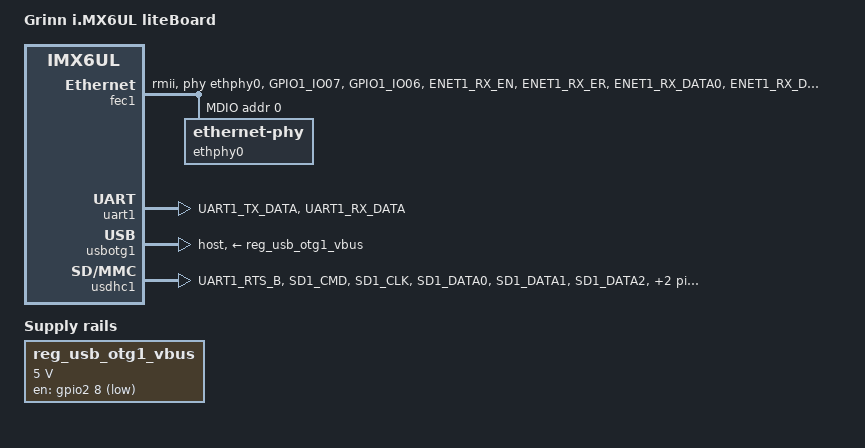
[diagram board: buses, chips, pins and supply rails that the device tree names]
/*
 * Copyright 2016 Grinn
 *
 * Author: Marcin Niestroj <m.niestroj@grinn-global.com>
 *
 * This file is dual-licensed: you can use it either under the terms
 * of the GPL or the X11 license, at your option. Note that this dual
 * licensing only applies to this file, and not this project as a
 * whole.
 *
 *  a) This file is free software; you can redistribute it and/or
 *     modify it under the terms of the GNU General Public License
 *     version 2 as published by the Free Software Foundation.
 *
 *     This file is distributed in the hope that it will be useful,
 *     but WITHOUT ANY WARRANTY; without even the implied warranty of
 *     MERCHANTABILITY or FITNESS FOR A PARTICULAR PURPOSE.  See the
 *     GNU General Public License for more details.
 *
 * Or, alternatively,
 *
 *  b) Permission is hereby granted, free of charge, to any person
 *     obtaining a copy of this software and associated documentation
 *     files (the "Software"), to deal in the Software without
 *     restriction, including without limitation the rights to use,
 *     copy, modify, merge, publish, distribute, sublicense, and/or
 *     sell copies of the Software, and to permit persons to whom the
 *     Software is furnished to do so, subject to the following
 *     conditions:
 *
 *     The above copyright notice and this permission notice shall be
 *     included in all copies or substantial portions of the Software.
 *
 *     THE SOFTWARE IS PROVIDED "AS IS", WITHOUT WARRANTY OF ANY KIND,
 *     EXPRESS OR IMPLIED, INCLUDING BUT NOT LIMITED TO THE WARRANTIES
 *     OF MERCHANTABILITY, FITNESS FOR A PARTICULAR PURPOSE AND
 *     NONINFRINGEMENT. IN NO EVENT SHALL THE AUTHORS OR COPYRIGHT
 *     HOLDERS BE LIABLE FOR ANY CLAIM, DAMAGES OR OTHER LIABILITY,
 *     WHETHER IN AN ACTION OF CONTRACT, TORT OR OTHERWISE, ARISING
 *     FROM, OUT OF OR IN CONNECTION WITH THE SOFTWARE OR THE USE OR
 *     OTHER DEALINGS IN THE SOFTWARE.
 */

/dts-v1/;

#include "imx6ul-litesom.dtsi"

/ {
	model = "Grinn i.MX6UL liteBoard";
	compatible = "grinn,imx6ul-liteboard", "grinn,imx6ul-litesom",
		     "fsl,imx6ul";

	chosen {
		stdout-path = &uart1;
	};

	reg_usb_otg1_vbus: regulator-usb-otg1-vbus {
		compatible = "regulator-fixed";
		pinctrl-names = "default";
		pinctrl-0 = <&pinctrl_usb_otg1_vbus>;
		regulator-name = "usb_otg1_vbus";
		regulator-min-microvolt = <5000000>;
		regulator-max-microvolt = <5000000>;
		gpio = <&gpio2 8 GPIO_ACTIVE_LOW>;
	};
};

&iomuxc {
	pinctrl_enet1: enet1grp {
		fsl,pins = <
			MX6UL_PAD_GPIO1_IO07__ENET1_MDC		0x1b0b0
			MX6UL_PAD_GPIO1_IO06__ENET1_MDIO	0x1b0b0
			MX6UL_PAD_ENET1_RX_EN__ENET1_RX_EN	0x1b0b0
			MX6UL_PAD_ENET1_RX_ER__ENET1_RX_ER	0x1b0b0
			MX6UL_PAD_ENET1_RX_DATA0__ENET1_RDATA00 0x1b0b0
			MX6UL_PAD_ENET1_RX_DATA1__ENET1_RDATA01 0x1b0b0
			MX6UL_PAD_ENET1_TX_EN__ENET1_TX_EN	0x1b0b0
			MX6UL_PAD_ENET1_TX_DATA0__ENET1_TDATA00 0x1b0b0
			MX6UL_PAD_ENET1_TX_DATA1__ENET1_TDATA01 0x1b0b0
			MX6UL_PAD_ENET1_TX_CLK__ENET1_REF_CLK1	0x4001b031
		>;
	};

	pinctrl_uart1: uart1grp {
		fsl,pins = <
			MX6UL_PAD_UART1_TX_DATA__UART1_DCE_TX	0x1b0b1
			MX6UL_PAD_UART1_RX_DATA__UART1_DCE_RX	0x1b0b1
		>;
	};

	pinctrl_usdhc1: usdhc1grp {
		fsl,pins = <
			MX6UL_PAD_UART1_RTS_B__GPIO1_IO19	0x17059
			MX6UL_PAD_SD1_CMD__USDHC1_CMD		0x17059
			MX6UL_PAD_SD1_CLK__USDHC1_CLK		0x10071
			MX6UL_PAD_SD1_DATA0__USDHC1_DATA0	0x17059
			MX6UL_PAD_SD1_DATA1__USDHC1_DATA1	0x17059
			MX6UL_PAD_SD1_DATA2__USDHC1_DATA2	0x17059
			MX6UL_PAD_SD1_DATA3__USDHC1_DATA3	0x17059
		>;
	};

	pinctrl_usb_otg1_vbus: usb-otg1-vbus-grp {
		fsl,pins = <
			MX6UL_PAD_ENET2_RX_DATA0__GPIO2_IO08	0x79
		>;
	};
};

&fec1 {
	pinctrl-names = "default";
	pinctrl-0 = <&pinctrl_enet1>;
	phy-mode = "rmii";
	phy-handle = <&ethphy0>;
	status = "okay";

	mdio {
		#address-cells = <1>;
		#size-cells = <0>;

		ethphy0: ethernet-phy@0 {
			reg = <0>;
		};
	};
};

&snvs_poweroff {
	status = "okay";
};

&uart1 {
	pinctrl-names = "default";
	pinctrl-0 = <&pinctrl_uart1>;
	status = "okay";
};

&usbotg1 {
	vbus-supply = <&reg_usb_otg1_vbus>;
	dr_mode = "host";
	status = "okay";
};

&usdhc1 {
	pinctrl-names = "default";
	pinctrl-0 = <&pinctrl_usdhc1>;
	cd-gpios = <&gpio1 19 GPIO_ACTIVE_LOW>;
	no-1-8-v;
	keep-power-in-suspend;
	wakeup-source;
	status = "okay";
};
